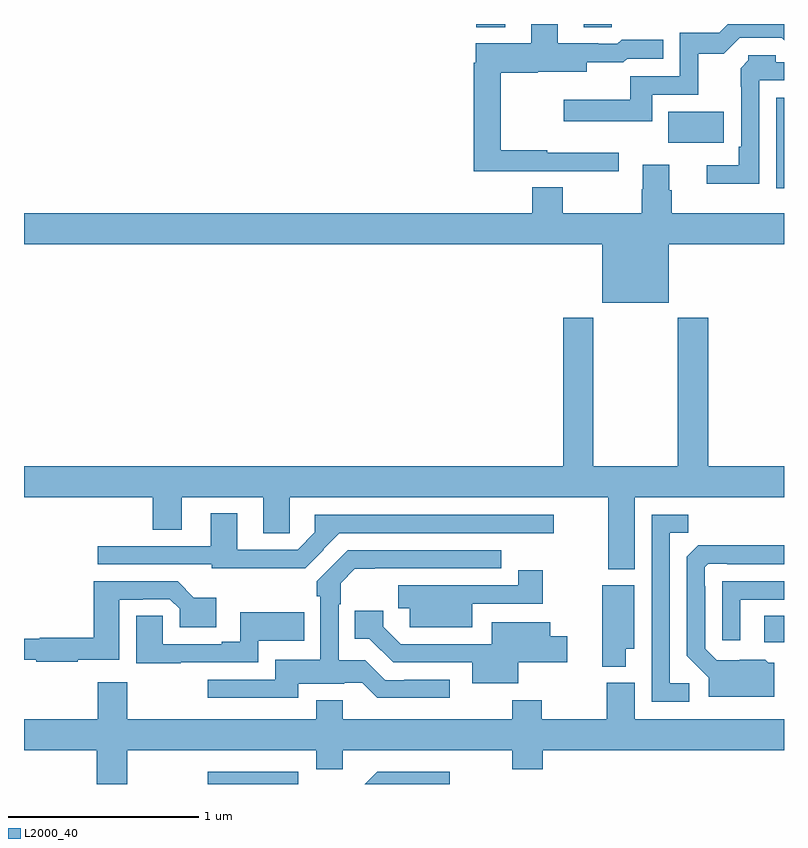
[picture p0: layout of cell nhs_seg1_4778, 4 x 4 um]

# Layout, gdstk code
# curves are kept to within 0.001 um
import gdstk
lib = gdstk.Library(unit=1e-6, precision=1e-09)
def R(c, l, rs):  # rectangles x0, y0, x1, y1
    for r in rs: c.add(gdstk.rectangle(r[:2], r[2:], *l))
def P(c, l, *ps):  # polygons
    for p in ps: c.add(gdstk.Polygon(p, *l))
L2000_40 = (2000, 40)

nhs_seg1_4778 = lib.new_cell('nhs_seg1_4778')
R(nhs_seg1_4778, L2000_40, [(369.966,574.199,370.444,574.263), (372.897,574.944,373,575.084), (372.96,577.334,373,577.812), (372.391,577.574,372.684,577.738), (371.945,578.182,372.093,578.199), (371.381,578.183,371.533,578.199)])
P(nhs_seg1_4778, L2000_40, [(371.591,577.425),(372.13,577.425),(372.13,577.522),(371.753,577.522),(371.753,577.534),(371.508,577.534),(371.508,577.942),(371.705,577.942),(371.705,577.949),(371.962,577.949),(371.962,577.997),(372.155,577.997),(372.174,578.016),(372.365,578.016),(372.365,578.117),(372.146,578.117),(372.123,578.094),(372.023,578.094),(372.023,578.097),(371.809,578.097),(371.809,578.199),(371.669,578.199),(371.669,578.098),(371.378,578.098),(371.378,577.994),(371.366,577.994),(371.366,577.423),(371.591,577.423)],
  [(372.306,577.827),(372.549,577.827),(372.549,578.043),(372.684,578.043),(372.768,578.127),(372.987,578.127),(373,578.114),(373,578.199),(372.705,578.199),(372.658,578.152),(372.45,578.152),(372.45,577.923),(372.19,577.923),(372.19,577.801),(371.841,577.801),(371.841,577.688),(372.306,577.688)],
  [(372.87,577.902),(373,577.902),(373,577.998),(372.956,577.998),(372.956,578.034),(372.813,578.034),(372.813,578.008),(372.772,577.967),(372.772,577.868),(372.774,577.868),(372.774,577.552),(372.762,577.552),(372.762,577.455),(372.594,577.455),(372.594,577.358),(372.87,577.358)],
  [(372.394,577.04),(373,577.04),(373,577.204),(372.41,577.204),(372.41,577.323),(372.397,577.323),(372.397,577.459),(372.257,577.459),(372.257,577.328),(372.25,577.328),(372.25,577.204),(371.835,577.204),(371.835,577.34),(371.675,577.34),(371.675,577.204),(369,577.204),(369,577.04),(372.044,577.04),(372.044,576.731),(372.394,576.731)],
  [(372.214,575.708),(373,575.708),(373,575.872),(372.602,575.872),(372.602,576.652),(372.442,576.652),(372.442,575.872),(371.997,575.872),(371.997,576.652),(371.837,576.652),(371.837,575.872),(369,575.872),(369,575.708),(369.677,575.708),(369.677,575.536),(369.829,575.536),(369.829,575.708),(370.259,575.708),(370.259,575.518),(370.398,575.518),(370.398,575.708),(372.074,575.708),(372.074,575.33),(372.214,575.33)],
  [(370.577,575.432),(370.574,575.435),(370.659,575.52),(371.788,575.52),(371.788,575.616),(370.531,575.616),(370.531,575.524),(370.44,575.433),(370.123,575.433),(370.123,575.623),(369.983,575.623),(369.983,575.451),(369.387,575.451),(369.387,575.355),(369.987,575.355),(369.987,575.335),(370.479,575.335)],
  [(372.502,574.728),(372.399,574.728),(372.399,575.521),(372.495,575.521),(372.495,575.616),(372.303,575.616),(372.303,574.632),(372.502,574.632)],
  [(372.949,574.836),(372.918,574.836),(372.902,574.852),(372.645,574.851),(372.585,574.911),(372.585,575.24),(372.582,575.24),(372.582,575.34),(372.6,575.358),(372.7,575.358),(372.7,575.355),(373,575.355),(373,575.456),(372.548,575.455),(372.489,575.396),(372.489,574.874),(372.605,574.758),(372.605,574.658),(372.949,574.658)],
  [(371.242,574.749),(371.002,574.749),(371.002,574.746),(370.902,574.746),(370.797,574.851),(370.656,574.851),(370.656,575.144),(370.667,575.144),(370.667,575.256),(370.742,575.332),(370.846,575.332),(370.846,575.334),(371.512,575.334),(371.512,575.43),(370.703,575.43),(370.54,575.267),(370.54,575.186),(370.56,575.186),(370.56,574.852),(370.322,574.852),(370.322,574.749),(369.966,574.749),(369.966,574.653),(370.444,574.653),(370.444,574.727),(370.685,574.727),(370.685,574.731),(370.779,574.731),(370.858,574.652),(371.242,574.652)],
  [(371.359,575.148),(371.731,575.148),(371.731,575.323),(371.6,575.323),(371.6,575.244),(371.255,575.244),(371.255,575.245),(370.971,575.245),(370.971,575.123),(371.03,575.123),(371.03,575.024),(371.359,575.024)],
  [(369.284,574.854),(369.502,574.854),(369.502,575.169),(369.626,575.169),(369.626,575.172),(369.768,575.172),(369.819,575.121),(369.819,575.024),(370.012,575.024),(370.012,575.179),(369.894,575.179),(369.808,575.265),(369.368,575.265),(369.368,574.97),(369.084,574.97),(369.084,574.963),(369,574.963),(369,574.854),(369.064,574.854),(369.064,574.842),(369.284,574.842)],
  [(372.771,575.169),(373,575.169),(373,575.265),(372.675,575.265),(372.675,574.956),(372.771,574.956)],
  [(372.166,574.91),(372.211,574.91),(372.211,575.245),(372.044,575.245),(372.044,574.817),(372.166,574.817)],
  [(371.602,574.841),(371.86,574.841),(371.86,574.976),(371.77,574.976),(371.77,575.05),(371.462,575.05),(371.462,574.935),(370.983,574.935),(370.891,575.027),(370.891,575.112),(370.741,575.112),(370.741,574.964),(370.818,574.964),(370.943,574.839),(371.36,574.839),(371.36,574.73),(371.602,574.73)],
  [(369.826,574.839),(370.233,574.839),(370.233,574.952),(370.475,574.952),(370.475,575.104),(370.137,575.104),(370.137,574.948),(370.04,574.948),(370.04,574.935),(369.729,574.935),(369.729,575.084),(369.59,575.084),(369.59,574.834),(369.826,574.834)],
  [(369.543,574.376),(370.538,574.376),(370.538,574.277),(370.678,574.277),(370.678,574.376),(371.569,574.376),(371.569,574.277),(371.729,574.277),(371.729,574.376),(373,574.376),(373,574.54),(372.214,574.54),(372.214,574.732),(372.067,574.732),(372.067,574.54),(371.724,574.54),(371.724,574.639),(371.569,574.639),(371.569,574.54),(370.678,574.54),(370.678,574.639),(370.538,574.639),(370.538,574.54),(369.543,574.54),(369.543,574.735),(369.388,574.735),(369.388,574.54),(369,574.54),(369,574.376),(369.383,574.376),(369.383,574.199),(369.543,574.199)],
  [(371.242,574.264),(370.858,574.264),(370.793,574.199),(371.242,574.199)])

lib.write_gds('nhs_seg1_4778.gds')
